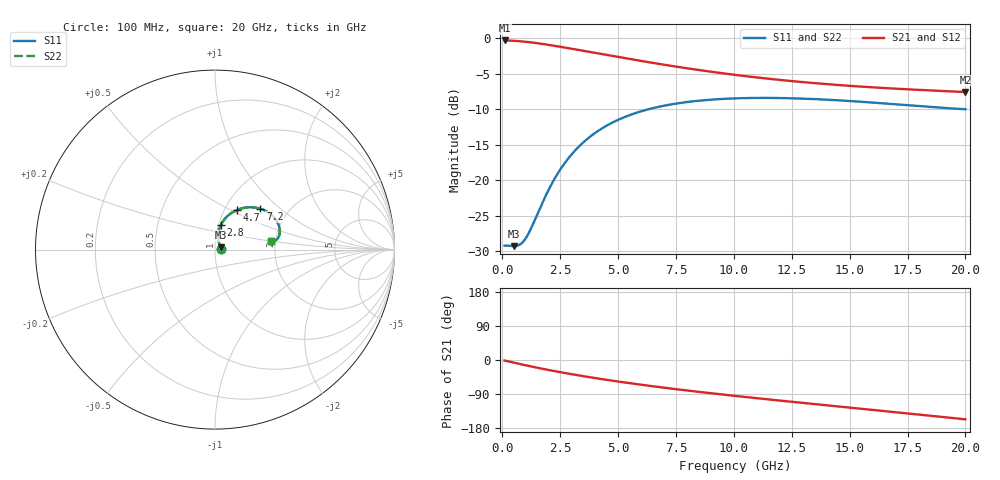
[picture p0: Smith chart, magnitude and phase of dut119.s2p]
! Created with skrf 1.9.0 (http://scikit-rf.org).
# GHz S RI R 50.0
!freq ReS11 ImS11 ReS21 ImS21 ReS12 ImS12 ReS22 ImS22
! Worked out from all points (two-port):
!   200 points, 100 MHz to 20 GHz, reference 50 ohm
!   highest |S21| = -0.31 dB at 100 MHz (marker M1); lowest = -7.6 dB at 20 GHz (marker M2)
!   |S21| within 3 dB of the highest: start of sweep to 6.205 GHz
!   lowest |S11| = -29.3 dB at 500 MHz (marker M3), VSWR 1.07, Z = 53.3 + j1.32 ohm
!   |S11| at or under -10 dB: start of sweep to 6.313 GHz
!   |S22| runs from -29.3 to -8.4 dB; largest |S21 - S12| = 2.4e-15
!   S11 on the Smith chart (normalised r, x): 100 MHz: 1.07, +0.01; 2.8 GHz: 1.03, +0.28; 4.7 GHz: 1.14, +0.54; 7.2 GHz: 1.45, +0.75; 20 GHz: 1.89, +0.21
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0.1  0.0345 0.00243  0.9648 -0.0239  0.9648 -0.0239  0.0345 0.00243
0.5  0.032 0.0123  0.9525 -0.1172  0.9525 -0.1172  0.032 0.0123
0.8  0.0281 0.0218  0.9338 -0.1836  0.9338 -0.1836  0.0281 0.0218
1  0.0251 0.0295  0.9175 -0.2255  0.9175 -0.2255  0.0251 0.0295
1.2  0.0222 0.0384  0.8986 -0.2651  0.8986 -0.2651  0.0222 0.0384
1.8  0.0173 0.0713  0.8303 -0.369  0.8303 -0.369  0.0173 0.0713
2.1  0.0183 0.0903  0.7918 -0.4127  0.7918 -0.4127  0.0183 0.0903
2.4  0.0222 0.1098  0.7516 -0.4512  0.7516 -0.4512  0.0222 0.1098
2.8  0.0316 0.1354  0.6967 -0.4949  0.6967 -0.4949  0.0316 0.1354
3.5  0.0585 0.1754  0.6 -0.5534  0.6 -0.5534  0.0585 0.1754
4.1  0.0887 0.202  0.5191 -0.5878  0.5191 -0.5878  0.0887 0.202
4.7  0.1222 0.2206  0.4416 -0.6105  0.4416 -0.6105  0.1222 0.2206
5.7  0.1787 0.235  0.3223 -0.6277  0.3223 -0.6277  0.1787 0.235
6.8  0.2348 0.2322  0.2071 -0.6251  0.2071 -0.6251  0.2348 0.2322
7.2  0.2527 0.2276  0.1694 -0.6201  0.1694 -0.6201  0.2527 0.2276
8.6  0.3034 0.2024  0.0529 -0.5915  0.0529 -0.5915  0.3034 0.2024
10.1  0.3382 0.1676  -0.0484 -0.5489  -0.0484 -0.5489  0.3382 0.1676
11.7  0.3569 0.1301  -0.1358 -0.4963  -0.1358 -0.4963  0.3569 0.1301
13.4  0.361 0.0953  -0.2111 -0.4359  -0.2111 -0.4359  0.361 0.0953
16.7  0.3413 0.0535  -0.3195 -0.3086  -0.3195 -0.3086  0.3413 0.0535
18.4  0.3256 0.0472  -0.3584 -0.237  -0.3584 -0.237  0.3256 0.0472
20  0.3123 0.0504  -0.3839 -0.1659  -0.3839 -0.1659  0.3123 0.0504
